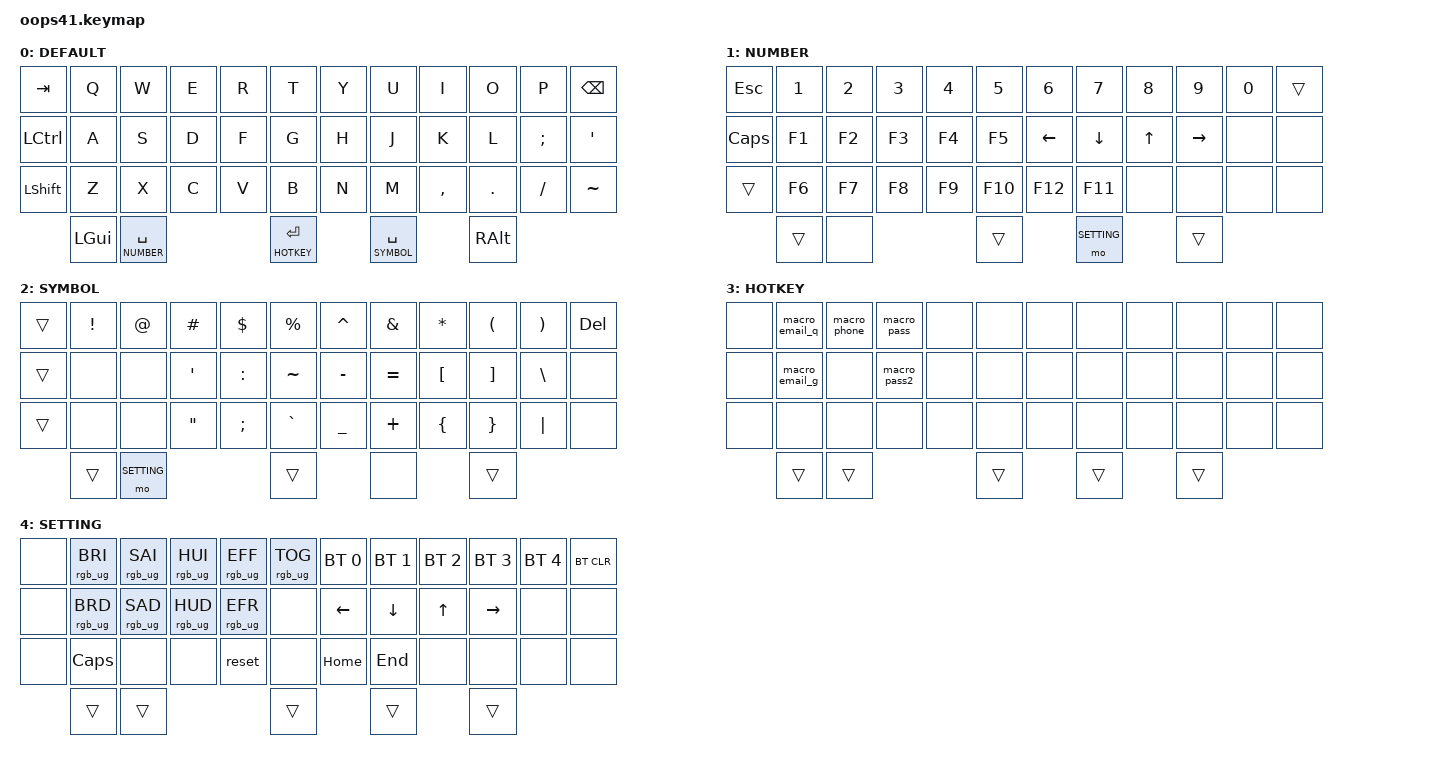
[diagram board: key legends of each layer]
/*
 * Copyright (c) 2022 The ZMK Contributors
 *
 * SPDX-License-Identifier: MIT
 */

#include <behaviors.dtsi>
#include <dt-bindings/zmk/keys.h>
#include <dt-bindings/zmk/bt.h>
#include <dt-bindings/zmk/rgb.h>

#define DEFAULT 0
#define NUMBER  1
#define SYMBOL  2
#define HOTKEY  3
#define SETTING 4

/ {
    behaviors {
        macro_phone: macro_1 {
            // 18568276196
            compatible = "zmk,behavior-macro";
            label = "MACRO_PHONE";
            #binding-cells = <0>;
            bindings = <&kp N1>, <&kp N8>, <&kp N5>, <&kp N6>, <&kp N8>, 
                        <&kp N2>, <&kp N7>, <&kp N6>, <&kp N1>, <&kp N9>, <&kp N6>;
        };
        macro_email_q: macro_2 {
            // chenzhihao0126@gmail.com
            compatible = "zmk,behavior-macro";
            label = "MACRO_EMAIL";
            #binding-cells = <0>;
            bindings = <&kp C>, <&kp H>, <&kp E>, <&kp N>, <&kp Z>, <&kp H>, <&kp I>, 
                        <&kp H>, <&kp A>, <&kp O>, <&kp N0>, <&kp N1>, <&kp N2>, <&kp N6>,
                        <&kp AT>, <&kp G>, <&kp M>, <&kp A>, <&kp I>, <&kp L>, <&kp DOT>, <&kp C>, <&kp O>, <&kp M>;
        };
        macro_email_g: macro_3 {
            // chenzhihao1109@qq.com
            compatible = "zmk,behavior-macro";
            label = "MACRO_EMAIL";
            #binding-cells = <0>;
            bindings = <&kp C>, <&kp H>, <&kp E>, <&kp N>, <&kp Z>, <&kp H>, <&kp I>, 
                        <&kp H>, <&kp A>, <&kp O>, <&kp N1>, <&kp N1>, <&kp N0>, <&kp N9>,
                        <&kp AT>, <&kp Q>, <&kp Q>, <&kp DOT>, <&kp C>, <&kp O>, <&kp M>;
        };
        macro_pass: macro_4 {
            // Chenzhihao11.9
            compatible = "zmk,behavior-macro";
            label = "MACRO_PASS";
            #binding-cells = <0>;
            bindings = <&kp LS(C)>, <&kp H>, <&kp E>, <&kp N>, <&kp Z>, <&kp H>, <&kp I>, 
                        <&kp H>, <&kp A>, <&kp O>, <&kp N1>, <&kp N1>, <&kp DOT>, <&kp N9>;
        };
        macro_pass2: macro_5 {
            // LoveLife11.9
            compatible = "zmk,behavior-macro";
            label = "MACRO_PASS";
            #binding-cells = <0>;
            bindings = <&kp LS(L)>, <&kp O>, <&kp V>, <&kp E>, 
                        <&kp LS(L)>, <&kp I>, <&kp F>, <&kp E>, 
                        <&kp A>, <&kp O>, <&kp N1>, <&kp N1>, <&kp DOT>, <&kp N9>;
        };
	};
        
    keymap {
        compatible = "zmk,keymap";
// -------------------------------------------------------------------------------------
// |  TAB |  Q  |  W  |  E  |  R  |  T  |   |  Y  |  U   |  I  |  O  |  P  | BKSP |
// | CTRL |  A  |  S  |  D  |  F  |  G  |   |  H  |  J   |  K  |  L  |  ;  |  '   |
// | SHFT |  Z  |  X  |  C  |  V  |  B  |   |  N  |  M   |  ,  |  .  |  /  |   ~  |
//                         | WIN | NUM | ENT | SYM  | ALT |
        default_layer {
            label = "DEFAULT";
            bindings = <
    &kp TAB    &kp Q  &kp W  &kp E  &kp R  &kp T   &kp Y  &kp U  &kp I      &kp O    &kp P     &kp BSPC
    &kp LCTRL   &kp A  &kp S  &kp D  &kp F  &kp G   &kp H  &kp J  &kp K      &kp L    &kp SEMI  &kp SQT
    &kp LSHFT  &kp Z  &kp X  &kp C  &kp V  &kp B   &kp N  &kp M  &kp COMMA  &kp DOT  &kp FSLH  &kp TILDE
            &kp LGUI  &lt NUMBER SPACE   &lt HOTKEY RET   &lt SYMBOL SPACE  &kp RALT
            >;
        };

// --------------------------------------------------------------------------------
// | ESC |  1  |  2  |  3  |  4  |  5  |   |  6  |  7  |  8  |  9  |  0  | DEL |
// | CAPS| F1  | F2  | F3  | F4  | F5  |   |  ←  |  ↓  |  ↑  |  →  |     |     |
// |     | F6  | F7  | F8  | F9  | F10 |   | F12 | F11 |     |     |     |     |
//                       |     |     |     |  Set  |     |
        number_layer {
            label = "NUMBER";
            bindings = <
    &kp ESC   &kp N1    &kp N2    &kp N3    &kp N4    &kp N5        &kp N6    &kp N7    &kp N8    &kp N9    &kp N0    &trans
    &kp CLCK  &kp F1    &kp F2    &kp F3    &kp F4    &kp F5        &kp LEFT  &kp DOWN  &kp UP    &kp RIGHT &none     &none
    &trans    &kp F6    &kp F7    &kp F8    &kp F9    &kp F10       &kp F12   &kp F11     &none     &none     &none     &none
                                &trans      &none       &trans        &mo SETTING      &trans
            >;
        };

// ----------------------------------------------------------------------------------
// | ESC |  !  |  @  |  #  |  $  |  %  |   |  ^  |  &  |  *  |  (  |  )  | DEL |
// |     |     |     |  "  |  :  |  ~  |   |  -  |  =  |  [  |  ]  |  \  |     |
// |     |     |     |  '  |  ;  |  `  |   |  _  |  +  |  {  |  }  | "|" |     |
//                       |     |  Set  |     |     |     |
        symbol_layer {
            label = "SYMBOL";
            bindings = <
    &trans &kp EXCL  &kp AT  &kp HASH &kp DLLR  &kp PRCNT      &kp CARET &kp AMPS  &kp STAR &kp LPAR &kp RPAR &kp DEL
    &trans &none     &none   &kp SQT  &kp COLON &kp TILDE      &kp MINUS &kp EQUAL &kp LBKT &kp RBKT &kp BSLH &none
    &trans &none     &none   &kp DQT  &kp SEMI  &kp GRAVE      &kp UNDER &kp PLUS  &kp LBRC &kp RBRC &kp PIPE &none
                                &trans      &mo SETTING      &trans        &none       &trans
            >;
        };

// -----------------------------------------------------------------------------------------
// |   |   |   |   |   |   |     |   |   |   |   |   |   |
// |   |   |   |   |   |   |     |   |   |   |   |   |   |
// |   |   |   |   |   |   |     |   |   |   |   |   |   |
//             |     |     |     |     |     |
        hotkey_layer {
            label = "HOTKEY";
            bindings = <
    &none &macro_email_q &macro_phone &macro_pass   &none &none        &none &none &none &none &none &none
    &none &macro_email_g &none        &macro_pass2  &none &none        &none &none &none &none &none &none
    &none &none        &none        &none       &none &none        &none &none &none &none &none &none
                                            &trans &trans &trans &trans &trans
            >;
        };

// -----------------------------------------------------------------------------------------
// |    | RGB BRI+ | RGB SAT+ | RGB HUE+ | RGB ANI+ | RGB TOG |   | BT1 | BT2 | BT3 | BT4 | BT5 | BT CLR |
// |    | RGB BRI- | RGB SAT- | RGB HUE- | RGB ANI- |         |   | LEFT| UP  | DOWN|RIGHT|     |        |
// |    |   CAPS   |          |          |  RESET   |         |   | HOME| END |     |     |     |        |
//                                              |     |     |     |     |     |
        setting_layer {
            label = "SETTING";
            bindings = <
    &none &rgb_ug RGB_BRI &rgb_ug RGB_SAI &rgb_ug RGB_HUI &rgb_ug RGB_EFF  &rgb_ug RGB_TOG      &bt BT_SEL 0 &bt BT_SEL 1 &bt BT_SEL 2 &bt BT_SEL 3 &bt BT_SEL 4 &bt BT_CLR
    &none &rgb_ug RGB_BRD &rgb_ug RGB_SAD &rgb_ug RGB_HUD &rgb_ug RGB_EFR  &none                &kp LEFT     &kp DOWN     &kp UP       &kp RIGHT    &none        &none
    &none &kp CLCK        &none           &none           &reset           &none                &kp HOME     &kp END      &none        &none        &none        &none
                                                            &trans      &trans       &trans        &trans      &trans
            >;
        };
    };
};
